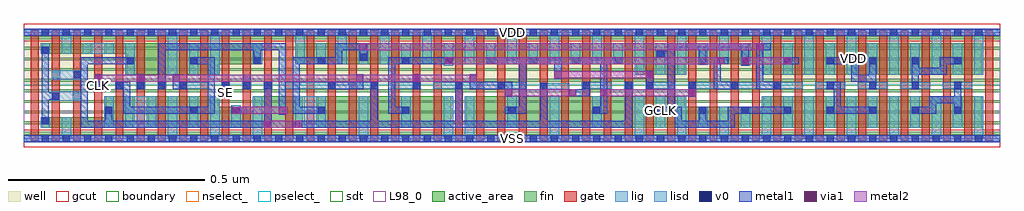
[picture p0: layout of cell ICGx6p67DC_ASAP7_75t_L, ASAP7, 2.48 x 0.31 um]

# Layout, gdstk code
import gdstk
lib = gdstk.Library(unit=1e-6, precision=2.5e-10)
def R(c, l, rs):  # rectangles x0, y0, x1, y1
    for r in rs: c.add(gdstk.rectangle(r[:2], r[2:], *l))
def A(c, l, x, y, w, h, nx, ny, dx, dy):  # array of equal rectangles
    R(c, l, [(x+i*dx, y+j*dy, x+i*dx+w, y+j*dy+h) for i in range(nx) for j in range(ny)])
def P(c, l, *ps):  # polygons
    for p in ps: c.add(gdstk.Polygon(p, *l))
well = (1, 0)
fin = (2, 0)
gate = (7, 0)
gcut = (10, 0)
active_area = (11, 0)
nselect_ = (12, 0)
pselect_ = (13, 0)
lig = (16, 0)
lisd = (17, 0)
v0 = (18, 0)
metal1 = (19, 0)
metal2 = (20, 0)
via1 = (21, 0)
sdt = (88, 0)
L98_0 = (98, 0)
boundary = (100, 0)

icgx6p67dc_asap7_75t_l = lib.new_cell('ICGx6p67DC_ASAP7_75t_L')
R(icgx6p67dc_asap7_75t_l, well, [(0,0.135,2.484,0.27)])
A(icgx6p67dc_asap7_75t_l, fin, 0, 0.01, 2.484, 0.007, 1, 10, 0, 0.027)
A(icgx6p67dc_asap7_75t_l, gate, 0.017, -0.005, 0.02, 0.28, 46, 1, 0.054, 0)
R(icgx6p67dc_asap7_75t_l, gcut, [(0,-0.022,2.484,0.022), (0,0.248,2.484,0.292)])
R(icgx6p67dc_asap7_75t_l, active_area, [(0.748,0.027,1.088,0.108), (0.046,0.216,0.17,0.243)])
P(icgx6p67dc_asap7_75t_l, active_area, [(0.046,0.027),(0.278,0.027),(0.278,0.108),(0.208,0.108),(0.208,0.054),(0.046,0.054)],
  [(0.586,0.081),(0.494,0.081),(0.494,0.108),(0.316,0.108),(0.316,0.027),(0.71,0.027),(0.71,0.108),(0.586,0.108)],
  [(1.882,0.081),(1.682,0.081),(1.682,0.108),(1.126,0.108),(1.126,0.027),(2.438,0.027),(2.438,0.108),(1.882,0.108)],
  [(0.602,0.243),(0.208,0.243),(0.208,0.216),(0.262,0.216),(0.262,0.162),(0.494,0.162),(0.494,0.189),(0.602,0.189)],
  [(1.882,0.162),(2.438,0.162),(2.438,0.243),(0.694,0.243),(0.694,0.189),(1.558,0.189),(1.558,0.162),(1.682,0.162),(1.682,0.189),(1.882,0.189)])
R(icgx6p67dc_asap7_75t_l, nselect_, [(0,0,2.484,0.135)])
R(icgx6p67dc_asap7_75t_l, pselect_, [(0,0.135,2.484,0.27)])
A(icgx6p67dc_asap7_75t_l, lig, 0.178, 0.127, 0.022, 0.016, 4, 1, 0.054, 0)
A(icgx6p67dc_asap7_75t_l, lig, 0.502, 0.127, 0.022, 0.016, 3, 1, 0.054, 0)
A(icgx6p67dc_asap7_75t_l, lig, 1.582, 0.127, 0.076, 0.016, 8, 1, 0.108, 0)
R(icgx6p67dc_asap7_75t_l, lig, [(0,-0.008,2.484,0.008), (0.124,0.1,0.146,0.116), (1.312,0.125,1.388,0.141), (0.394,0.127,0.47,0.143), (0.664,0.127,0.794,0.143), (0.826,0.127,0.902,0.143), (0.934,0.127,1.01,0.143), (1.042,0.127,1.172,0.143), (1.204,0.127,1.28,0.143), (1.42,0.127,1.496,0.143), (1.528,0.127,1.55,0.143), (0.07,0.154,0.092,0.17), (0,0.262,2.484,0.278)])
A(icgx6p67dc_asap7_75t_l, lisd, 0.366, 0, 0.024, 0.108, 3, 1, 0.108, 0)
A(icgx6p67dc_asap7_75t_l, lisd, 1.122, 0, 0.024, 0.108, 3, 1, 0.216, 0)
A(icgx6p67dc_asap7_75t_l, lisd, 1.878, 0, 0.024, 0.108, 6, 2, 0.108, 0.162)
A(icgx6p67dc_asap7_75t_l, lisd, 1.932, 0.027, 0.024, 0.081, 5, 2, 0.108, 0.135)
A(icgx6p67dc_asap7_75t_l, lisd, 0.69, 0.189, 0.024, 0.081, 8, 1, 0.108, 0)
A(icgx6p67dc_asap7_75t_l, lisd, 0.744, 0.189, 0.024, 0.054, 3, 1, 0.108, 0)
A(icgx6p67dc_asap7_75t_l, lisd, 1.176, 0.189, 0.024, 0.054, 4, 1, 0.108, 0)
R(icgx6p67dc_asap7_75t_l, lisd, [(0.096,0,0.12,0.054), (0.852,0,0.876,0.108), (1.068,0,1.092,0.108), (1.662,0,1.686,0.108), (1.77,0,1.794,0.081), (0.042,0.027,0.066,0.054), (0.204,0.027,0.228,0.108), (0.258,0.027,0.336,0.108), (0.42,0.027,0.444,0.108), (0.528,0.027,0.552,0.085), (0.69,0.027,0.768,0.108), (0.96,0.027,0.984,0.108), (1.23,0.027,1.254,0.108), (1.446,0.027,1.47,0.108), (1.608,0.027,1.632,0.108), (1.716,0.027,1.74,0.081), (1.824,0.027,1.848,0.081), (0.07,0.096,0.146,0.12), (0.07,0.15,0.146,0.174), (0.258,0.162,0.282,0.243), (0.366,0.162,0.39,0.27), (0.42,0.162,0.444,0.243), (0.474,0.162,0.498,0.27), (1.554,0.162,1.578,0.27), (1.608,0.162,1.632,0.243), (1.662,0.162,1.686,0.27), (1.068,0.185,1.092,0.243), (1.824,0.185,1.848,0.243), (1.716,0.188,1.74,0.243), (0.582,0.189,0.606,0.243), (1.77,0.189,1.794,0.27), (0.042,0.216,0.066,0.243), (0.096,0.216,0.12,0.27), (0.15,0.216,0.228,0.243)])
A(icgx6p67dc_asap7_75t_l, v0, 0.045, -0.009, 0.018, 0.018, 45, 2, 0.054, 0.27)
A(icgx6p67dc_asap7_75t_l, v0, 1.611, 0.063, 0.018, 0.018, 8, 1, 0.108, 0)
A(icgx6p67dc_asap7_75t_l, v0, 0.18, 0.126, 0.018, 0.018, 5, 1, 0.054, 0)
A(icgx6p67dc_asap7_75t_l, v0, 0.504, 0.126, 0.018, 0.018, 3, 1, 0.054, 0)
A(icgx6p67dc_asap7_75t_l, v0, 0.774, 0.126, 0.018, 0.018, 5, 1, 0.108, 0)
A(icgx6p67dc_asap7_75t_l, v0, 1.584, 0.126, 0.018, 0.018, 4, 1, 0.108, 0)
A(icgx6p67dc_asap7_75t_l, v0, 2.043, 0.126, 0.018, 0.018, 4, 2, 0.108, 0.063)
A(icgx6p67dc_asap7_75t_l, v0, 0.261, 0.189, 0.018, 0.018, 4, 1, 0.162, 0)
A(icgx6p67dc_asap7_75t_l, v0, 1.179, 0.189, 0.018, 0.018, 4, 1, 0.108, 0)
R(icgx6p67dc_asap7_75t_l, v0, [(0.045,0.036,0.063,0.054), (0.207,0.063,0.225,0.081), (0.423,0.063,0.441,0.081), (0.529,0.063,0.547,0.081), (0.747,0.063,0.765,0.081), (0.963,0.063,0.981,0.081), (1.233,0.063,1.251,0.081), (1.448,0.063,1.466,0.081), (0.072,0.099,0.09,0.117), (1.314,0.124,1.332,0.142), (1.422,0.126,1.44,0.144), (1.53,0.126,1.548,0.144), (0.126,0.153,0.144,0.171), (1.827,0.187,1.845,0.205), (1.719,0.188,1.737,0.206), (0.963,0.189,0.981,0.207), (1.073,0.189,1.091,0.207), (1.933,0.189,1.951,0.207), (0.855,0.198,0.873,0.216), (1.611,0.205,1.629,0.223), (0.045,0.216,0.063,0.234)])
R(icgx6p67dc_asap7_75t_l, metal1, [(0,-0.009,2.484,0.009), (0.529,0.063,0.567,0.081), (1.692,0.106,1.71,0.144), (0.504,0.107,0.522,0.144), (0.18,0.126,0.198,0.164), (0.288,0.126,0.306,0.164), (0.558,0.126,0.576,0.162), (0.99,0.126,1.008,0.164), (1.584,0.126,1.602,0.173), (1.933,0.189,1.972,0.207), (0,0.261,2.484,0.279)])
P(icgx6p67dc_asap7_75t_l, metal1, [(1.44,0.144),(1.422,0.144),(1.422,0.126),(1.386,0.126),(1.386,0.108),(1.44,0.108)],
  [(0.414,0.144),(0.396,0.144),(0.396,0.164),(0.378,0.164),(0.378,0.126),(0.414,0.126)],
  [(1.926,0.144),(1.881,0.144),(1.881,0.225),(1.9,0.225),(1.9,0.243),(1.863,0.243),(1.863,0.126),(1.926,0.126)],
  [(1.548,0.144),(1.53,0.144),(1.53,0.045),(1.332,0.045),(1.332,0.142),(1.314,0.142),(1.314,0.045),(1.116,0.045),(1.116,0.144),(1.098,0.144),(1.098,0.045),(0.9,0.045),(0.9,0.144),(0.882,0.144),(0.882,0.045),(0.682,0.045),(0.682,0.027),(1.548,0.027)],
  [(2.169,0.081),(2.079,0.081),(2.079,0.144),(2.043,0.144),(2.043,0.126),(2.061,0.126),(2.061,0.081),(2.043,0.081),(2.043,0.063),(2.169,0.063)],
  [(2.322,0.09),(2.367,0.09),(2.367,0.063),(2.385,0.063),(2.385,0.144),(2.367,0.144),(2.367,0.108),(2.304,0.108),(2.304,0.081),(2.259,0.081),(2.259,0.063),(2.322,0.063)],
  [(0.864,0.164),(0.846,0.164),(0.846,0.144),(0.774,0.144),(0.774,0.126),(0.864,0.126)],
  [(1.242,0.144),(1.152,0.144),(1.152,0.164),(1.134,0.164),(1.134,0.126),(1.224,0.126),(1.224,0.106),(1.242,0.106)],
  [(1.278,0.189),(1.35,0.189),(1.35,0.151),(1.368,0.151),(1.368,0.207),(1.179,0.207),(1.179,0.189),(1.26,0.189),(1.26,0.081),(1.223,0.081),(1.223,0.063),(1.278,0.063)],
  [(0.63,0.144),(0.612,0.144),(0.612,0.045),(0.225,0.045),(0.225,0.081),(0.207,0.081),(0.207,0.045),(0.162,0.045),(0.162,0.189),(0.279,0.189),(0.279,0.207),(0.144,0.207),(0.144,0.171),(0.126,0.171),(0.126,0.153),(0.144,0.153),(0.144,0.027),(0.63,0.027)],
  [(0.981,0.081),(0.945,0.081),(0.945,0.189),(1.091,0.189),(1.091,0.207),(0.927,0.207),(0.927,0.063),(0.981,0.063)],
  [(0.486,0.207),(0.423,0.207),(0.423,0.189),(0.468,0.189),(0.468,0.081),(0.27,0.081),(0.27,0.144),(0.234,0.144),(0.234,0.126),(0.252,0.126),(0.252,0.063),(0.486,0.063)],
  [(1.485,0.189),(1.521,0.189),(1.521,0.207),(1.395,0.207),(1.395,0.189),(1.467,0.189),(1.467,0.081),(1.448,0.081),(1.448,0.063),(1.485,0.063)],
  [(1.818,0.144),(1.773,0.144),(1.773,0.189),(1.792,0.189),(1.792,0.207),(1.755,0.207),(1.755,0.126),(1.818,0.126)],
  [(2.169,0.207),(2.151,0.207),(2.151,0.162),(2.124,0.162),(2.124,0.207),(2.043,0.207),(2.043,0.189),(2.106,0.189),(2.106,0.144),(2.151,0.144),(2.151,0.126),(2.169,0.126)],
  [(2.385,0.207),(2.331,0.207),(2.331,0.18),(2.277,0.18),(2.277,0.207),(2.259,0.207),(2.259,0.126),(2.277,0.126),(2.277,0.162),(2.349,0.162),(2.349,0.189),(2.385,0.189)],
  [(1.809,0.063),(1.953,0.063),(1.953,0.081),(1.791,0.081),(1.791,0.045),(1.737,0.045),(1.737,0.081),(1.719,0.081),(1.719,0.045),(1.674,0.045),(1.674,0.081),(1.656,0.081),(1.656,0.225),(1.719,0.225),(1.719,0.188),(1.737,0.188),(1.737,0.225),(1.827,0.225),(1.827,0.187),(1.845,0.187),(1.845,0.243),(1.638,0.243),(1.638,0.223),(1.611,0.223),(1.611,0.205),(1.638,0.205),(1.638,0.081),(1.611,0.081),(1.611,0.063),(1.656,0.063),(1.656,0.027),(1.809,0.027)],
  [(0.666,0.243),(0.342,0.243),(0.342,0.126),(0.36,0.126),(0.36,0.225),(0.585,0.225),(0.585,0.189),(0.603,0.189),(0.603,0.225),(0.648,0.225),(0.648,0.061),(0.666,0.061)],
  [(0.063,0.099),(0.09,0.099),(0.09,0.117),(0.063,0.117),(0.063,0.234),(0.045,0.234),(0.045,0.036),(0.063,0.036)],
  [(0.765,0.081),(0.702,0.081),(0.702,0.189),(0.81,0.189),(0.81,0.225),(0.855,0.225),(0.855,0.198),(0.873,0.198),(0.873,0.243),(0.792,0.243),(0.792,0.207),(0.684,0.207),(0.684,0.063),(0.765,0.063)])
R(icgx6p67dc_asap7_75t_l, metal2, [(0.61,0.027,0.707,0.045), (0.531,0.063,0.671,0.081), (1.224,0.108,1.406,0.126), (1.467,0.108,1.71,0.126), (0.18,0.144,1.152,0.162), (1.35,0.153,1.602,0.171), (1.071,0.189,1.782,0.207), (1.827,0.189,1.953,0.207), (0.853,0.225,1.883,0.243)])
A(icgx6p67dc_asap7_75t_l, via1, 0.846, 0.144, 0.018, 0.018, 3, 1, 0.144, 0)
R(icgx6p67dc_asap7_75t_l, via1, [(0.61,0.027,0.628,0.045), (0.684,0.027,0.702,0.045), (0.531,0.063,0.549,0.081), (0.648,0.063,0.666,0.081), (1.224,0.108,1.242,0.126), (1.388,0.108,1.406,0.126), (1.467,0.108,1.485,0.126), (1.692,0.108,1.71,0.126), (0.18,0.144,0.198,0.162), (0.288,0.144,0.306,0.162), (0.378,0.144,0.396,0.162), (1.35,0.153,1.368,0.171), (1.584,0.153,1.602,0.171), (1.071,0.189,1.089,0.207), (1.764,0.189,1.782,0.207), (1.827,0.189,1.845,0.207), (1.935,0.189,1.953,0.207), (0.853,0.225,0.871,0.243), (1.865,0.225,1.883,0.243)])
A(icgx6p67dc_asap7_75t_l, sdt, 0.204, 0.027, 0.024, 0.081, 6, 1, 0.054, 0)
A(icgx6p67dc_asap7_75t_l, sdt, 0.744, 0.027, 0.024, 0.081, 4, 1, 0.108, 0)
A(icgx6p67dc_asap7_75t_l, sdt, 1.122, 0.027, 0.024, 0.081, 5, 1, 0.108, 0)
A(icgx6p67dc_asap7_75t_l, sdt, 1.716, 0.027, 0.024, 0.054, 3, 2, 0.054, 0.162)
A(icgx6p67dc_asap7_75t_l, sdt, 1.878, 0.027, 0.024, 0.081, 11, 2, 0.054, 0.135)
A(icgx6p67dc_asap7_75t_l, sdt, 0.366, 0.162, 0.024, 0.081, 3, 1, 0.054, 0)
A(icgx6p67dc_asap7_75t_l, sdt, 1.554, 0.162, 0.024, 0.081, 3, 1, 0.054, 0)
A(icgx6p67dc_asap7_75t_l, sdt, 0.69, 0.189, 0.024, 0.054, 16, 1, 0.054, 0)
A(icgx6p67dc_asap7_75t_l, sdt, 0.042, 0.216, 0.024, 0.027, 4, 1, 0.054, 0)
R(icgx6p67dc_asap7_75t_l, sdt, [(0.042,0.027,0.066,0.054), (0.096,0.027,0.12,0.054), (0.528,0.027,0.552,0.081), (0.582,0.027,0.606,0.108), (0.69,0.027,0.714,0.108), (1.608,0.027,1.632,0.108), (1.662,0.027,1.686,0.108), (0.258,0.162,0.282,0.243), (0.582,0.189,0.606,0.243)])
R(icgx6p67dc_asap7_75t_l, L98_0, [(0,0,2.484,0.27)])
R(icgx6p67dc_asap7_75t_l, boundary, [(0,0,2.484,0.27)])
icgx6p67dc_asap7_75t_l.add(gdstk.Label('SE', (0.513,0.117), layer=19, texttype=251))
icgx6p67dc_asap7_75t_l.add(gdstk.Label('GCLK', (1.62,0.072), layer=19, texttype=251))
icgx6p67dc_asap7_75t_l.add(gdstk.Label('ENA', (0.567,0.135), layer=19, texttype=251))
icgx6p67dc_asap7_75t_l.add(gdstk.Label('CLK', (0.189,0.135), layer=19, texttype=251))
icgx6p67dc_asap7_75t_l.add(gdstk.Label('VSS', (1.242,0), layer=19, texttype=251))
icgx6p67dc_asap7_75t_l.add(gdstk.Label('VDD', (1.242,0.27), layer=19, texttype=251))
icgx6p67dc_asap7_75t_l.add(gdstk.Label('VDD', (2.1115,0.2025), layer=1, texttype=251))
icgx6p67dc_asap7_75t_l.add(gdstk.Label('VSS', (2.8565,0.2025), layer=3, texttype=251))

lib.write_gds('ICGx6p67DC_ASAP7_75t_L.gds')
